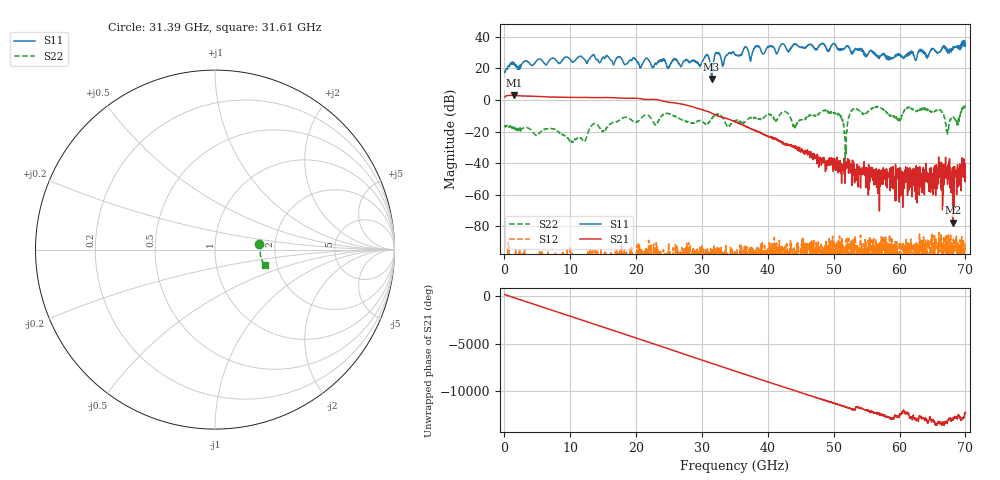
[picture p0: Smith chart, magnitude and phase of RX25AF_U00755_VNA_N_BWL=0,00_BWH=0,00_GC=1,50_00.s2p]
! 12/11/2020 2:06:16 PM, file used: 20191218_TX1550_0dBm_deembed_OFF.chx
! Z:\PRODUCTIONTESTRESULTS\RXANDRXM\VNA TEMP\VNA_TEMP_1_1824835648.S2P
! CHANNEL.1
! TR.MEASUREMENT
! CORRECTED.DATA
# GHZ S DB R 50.0
! FREQ.GHZ  S11DB  S11A  S21DB  S21A  S12DB  S12A  S22DB  S22A
!; PortSelection: Port_12
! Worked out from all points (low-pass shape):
!   2000 points, 35 MHz to 70 GHz, reference 50 ohm
!   highest |S21| = 2.94 dB at 1.435 GHz (marker M1); lowest = -77.7 dB at 68.08 GHz (marker M2)
!   |S21| within 3 dB of the highest: start of sweep to 23.38 GHz
!   lowest |S11| = 13.1 dB at 31.46 GHz (marker M3)
!   |S11| at or under -10 dB: nowhere
!   |S22| runs from -41.5 to -3.4 dB; largest |S21 - S12| = 1.4
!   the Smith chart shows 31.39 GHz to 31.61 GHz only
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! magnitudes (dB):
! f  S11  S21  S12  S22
! 35 MHz  17.4  1.8  -110.7  -16.7
! 1.435 GHz  22.2  2.9  -109.1  -18.1
! 11.72 GHz  27.3  1.6  -106.7  -24.7
! 13.62 GHz  28.5  1.4  -111.1  -15.0
! 23.38 GHz  24.3  -0.1  -105.3  -13.5
! 30.7 GHz  28.2  -7.1  -102.4  -15.3
! 31.46 GHz  13.1  -8.3  -94.7  -11.9
! 32.27 GHz  30.0  -9.9  -93.5  -9.1
! 33.22 GHz  22.0  -11.1  -96.4  -11.8
! 35.03 GHz  28.4  -13.9  -102.9  -13.0
! 42.56 GHz  34.3  -28.0  -98.6  -7.3
! 44.13 GHz  35.3  -28.9  -102.6  -16.8
! 46.69 GHz  34.9  -34.3  -94.0  -9.6
! 50.68 GHz  32.6  -46.1  -92.9  -8.7
! 51.77 GHz  33.3  -41.3  -98.2  -41.5
! 52.99 GHz  30.9  -38.9  -106.1  -5.8
! 58.34 GHz  27.4  -46.7  -101.7  -9.3
! 64.75 GHz  31.4  -48.4  -87.2  -7.6
! 66.01 GHz  30.2  -39.6  -92.2  -6.1
! 67.27 GHz  31.2  -52.0  -100.6  -22.2
! 68.08 GHz  32.1  -77.7  -97.6  -10.6
! 70 GHz  36.0  -47.9  -89.8  -3.4
